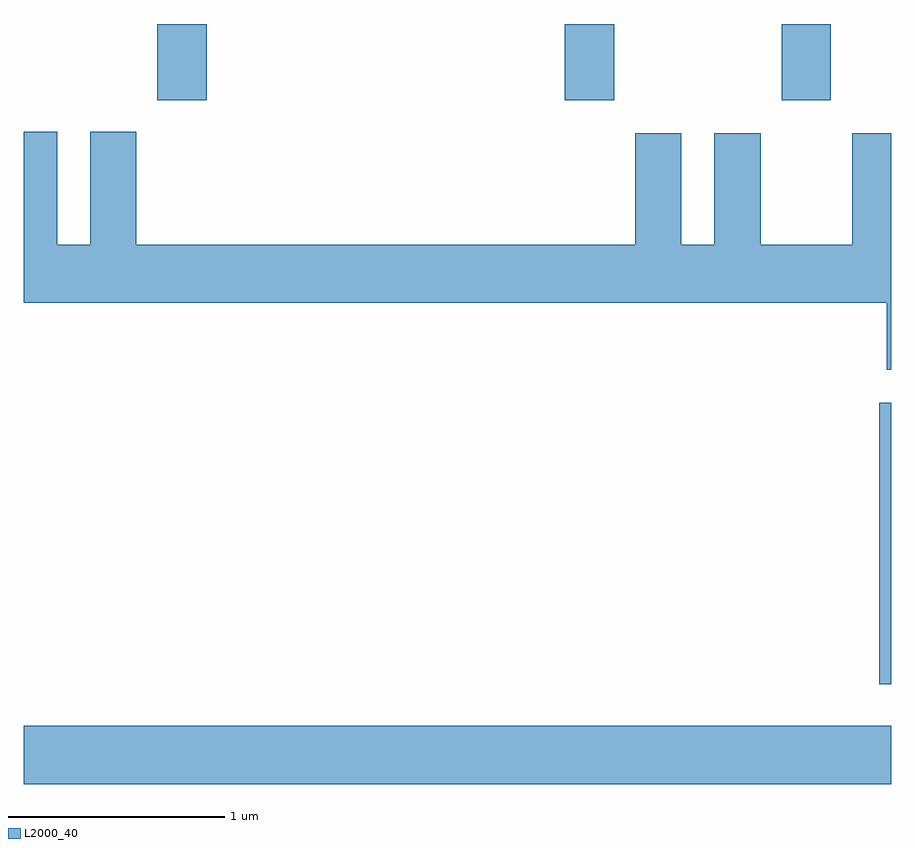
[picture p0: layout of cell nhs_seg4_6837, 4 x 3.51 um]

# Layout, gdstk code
import gdstk
lib = gdstk.Library(unit=1e-6, precision=1e-09)
def R(c, l, rs):  # rectangles x0, y0, x1, y1
    for r in rs: c.add(gdstk.rectangle(r[:2], r[2:], *l))
def P(c, l, *ps):  # polygons
    for p in ps: c.add(gdstk.Polygon(p, *l))
L2000_40 = (2000, 40)

nhs_seg4_6837 = lib.new_cell('nhs_seg4_6837')
R(nhs_seg4_6837, L2000_40, [(385.611,1332.476,389.611,1332.744), (389.556,1332.936,389.611,1334.234), (386.226,1335.631,386.454,1335.982), (388.106,1335.631,388.334,1335.982), (389.106,1335.631,389.334,1335.982)])
P(nhs_seg4_6837, L2000_40, [(389.611,1335.479),(389.431,1335.479),(389.431,1334.964),(389.009,1334.964),(389.009,1335.479),(388.796,1335.479),(388.796,1334.964),(388.644,1334.964),(388.644,1335.479),(388.431,1335.479),(388.431,1334.964),(386.129,1334.964),(386.129,1335.484),(385.916,1335.484),(385.916,1334.964),(385.764,1334.964),(385.764,1335.484),(385.611,1335.484),(385.611,1334.696),(389.591,1334.696),(389.591,1334.386),(389.611,1334.386)])

lib.write_gds('nhs_seg4_6837.gds')
